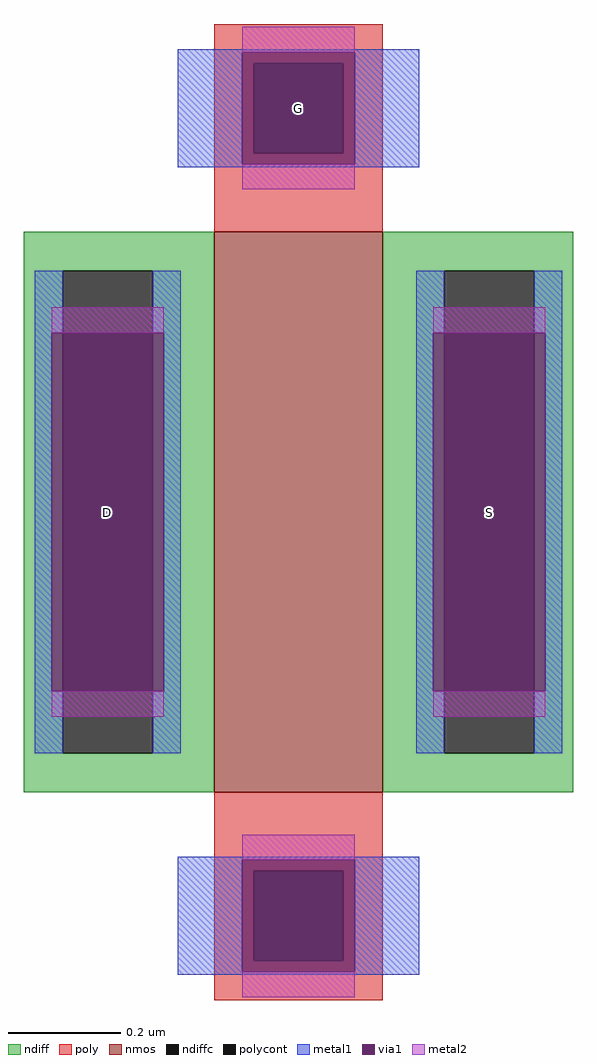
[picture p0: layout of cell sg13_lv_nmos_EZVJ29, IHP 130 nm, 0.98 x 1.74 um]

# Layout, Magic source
magic
tech ihp-sg13cmos5l
magscale 1 2
<< nmos >>
rect -30 -100 30 100
<< ndiff >>
rect -98 86 -30 100
rect -98 -86 -84 86
rect -52 -86 -30 86
rect -98 -100 -30 -86
rect 30 86 98 100
rect 30 -86 52 86
rect 84 -86 98 86
rect 30 -100 98 -86
<< ndiffc >>
rect -84 -86 -52 86
rect 52 -86 84 86
<< poly >>
rect -30 160 30 174
rect -30 128 -16 160
rect 16 128 30 160
rect -30 100 30 128
rect -30 -128 30 -100
rect -30 -160 -16 -128
rect 16 -160 30 -128
rect -30 -174 30 -160
<< polycont >>
rect -16 128 16 160
rect -16 -160 16 -128
<< metal1 >>
rect -43 164 43 165
rect -43 124 -20 164
rect 20 124 43 164
rect -43 123 43 124
rect -94 64 -84 86
rect -52 64 -42 86
rect -94 -64 -88 64
rect -48 -64 -42 64
rect -94 -86 -84 -64
rect -52 -86 -42 -64
rect 42 64 52 86
rect 84 64 94 86
rect 42 -64 48 64
rect 88 -64 94 64
rect 42 -86 52 -64
rect 84 -86 94 -64
rect -43 -124 43 -123
rect -43 -164 -20 -124
rect 20 -164 43 -124
rect -43 -165 43 -164
<< via1 >>
rect -20 160 20 164
rect -20 128 -16 160
rect -16 128 16 160
rect 16 128 20 160
rect -20 124 20 128
rect -88 -64 -84 64
rect -84 -64 -52 64
rect -52 -64 -48 64
rect 48 -64 52 64
rect 52 -64 84 64
rect 84 -64 88 64
rect -20 -128 20 -124
rect -20 -160 -16 -128
rect -16 -160 16 -128
rect 16 -160 20 -128
rect -20 -164 20 -160
<< metal2 >>
rect -20 164 20 173
rect -20 115 20 124
rect -88 64 -48 73
rect -88 -73 -48 -64
rect 48 64 88 73
rect 48 -73 88 -64
rect -20 -124 20 -115
rect -20 -173 20 -164
<< labels >>
rlabel ndiffc -68 0 -68 0 0 D
port 7 nsew
rlabel ndiffc 68 0 68 0 0 S
port 8 nsew
rlabel polycont 0 144 0 144 0 G
port 9 nsew
<< properties >>
string gencell sg13_lv_nmos
string library sg13cmos5l
string parameters w 1.0 l 0.3 m 1 ng 1 diffcov 100 polycov 100 guard 0 glc 1 grc 1 gtc 1 gbc 1 tbcov 100 rlcov 100 topc 1 botc 1 poverlap 0 doverlap 1 lmin 0.13 wmin 0.15 class mosfet compatible {sg13_lv_nmos sg13_hv_nmos} full_metal 1 conn_gates 0 gate_ring 0 doports 1 viasrc 100 viadrn 100 viagate 100 ccols 1 viagb 0 viagr 0 viagl 0 viagt 0
<< end >>
